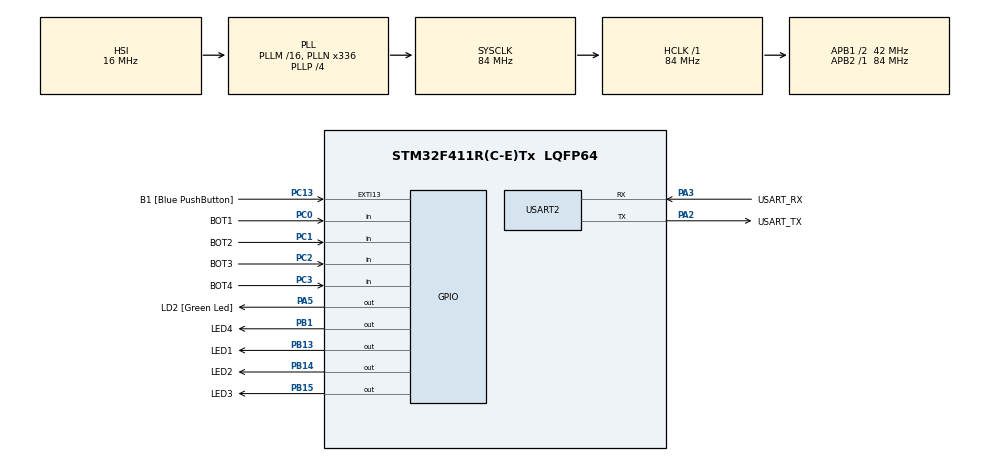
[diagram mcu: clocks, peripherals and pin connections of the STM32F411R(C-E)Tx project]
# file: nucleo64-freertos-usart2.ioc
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Mcu.Family=STM32F4
RCC.CortexFreq_Value=84000000
PB14.GPIO_Label=LED2
PA14.GPIO_Label=TCK
PC0.GPIO_Label=BOT1
PB13.GPIO_Label=LED1
PB13.Signal=GPIO_Output
PB15.Signal=GPIO_Output
RCC.SYSCLKSource=RCC_SYSCLKSOURCE_PLLCLK
ProjectManager.StackSize=0x400
VP_FREERTOS_VS_CMSIS_V2.Mode=CMSIS_V2
PH0\ -\ OSC_IN.Signal=RCC_OSC_IN
NVIC.TIM5_IRQn=true\:0\:0\:false\:false\:true\:false\:false\:true
RCC.HCLKFreq_Value=84000000
RCC.APB2TimFreq_Value=84000000
PC3.Signal=GPIO_Input
RCC.AHBFreq_Value=84000000
RCC.HSE_VALUE=8000000
PC13-ANTI_TAMP.Signal=GPXTI13
PB1.GPIO_Label=LED4
RCC.FLatency-AdvancedSettings=FLASH_LATENCY_2
Mcu.Package=LQFP64
PB1.Signal=GPIO_Output
NVIC.TimeBase=TIM5_IRQn
USART2.VirtualMode=VM_ASYNC
PA2.GPIO_Label=USART_TX
NVIC.TimeBaseIP=TIM5
RCC.APB1TimFreq_Value=84000000
PC2.GPIO_Label=BOT3
PA3.Signal=USART2_RX
PB3.GPIO_Label=SWO
FREERTOS.Tasks01=buttonControl,24,128,StartButtonControl,Default,NULL,Dynamic,NULL,NULL;ledControl,24,128,StartLedControl,Default,NULL,Dynamic,NULL,NULL;serialControl,24,128,StartSerialControl,Default,NULL,Dynamic,NULL,NULL
PC13-ANTI_TAMP.GPIO_Label=B1 [Blue PushButton]
PC2.Signal=GPIO_Input
VP_SYS_VS_tim5.Mode=TIM5
PC0.Signal=GPIO_Input
RCC.APB1CLKDivider=RCC_HCLK_DIV2
PC14-OSC32_IN.Signal=RCC_OSC32_IN
PA13.Signal=SYS_JTMS-SWDIO
PA3.Mode=Asynchronous
ProjectManager.TargetToolchain=STM32CubeIDE
RCC.LSE_VALUE=32768
PC15-OSC32_OUT.Signal=RCC_OSC32_OUT
PB14.Signal=GPIO_Output
PA5.Signal=GPIO_Output
PH1\ -\ OSC_OUT.Signal=RCC_OSC_OUT
board=NUCLEO-F411RE
RCC.VCOOutputFreq_Value=336000000
RCC.APB2Freq_Value=84000000
PB15.GPIO_Label=LED3
PC1.GPIO_Label=BOT2
Mcu.Name=STM32F411R(C-E)Tx
PA13.GPIO_Label=TMS
PA2.Signal=USART2_TX
RCC.48MHZClocksFreq_Value=84000000
PB3.Signal=SYS_JTDO-SWO
RCC.SYSCLKFreq_VALUE=84000000
PA5.GPIO_Label=LD2 [Green Led]
PC13-ANTI_TAMP.GPIO_ModeDefaultEXTI=GPIO_MODE_IT_FALLING
PA14.Signal=SYS_JTCK-SWCLK
ProjectManager.HeapSize=0x200
RCC.HSI_VALUE=16000000
RCC.PLLP=RCC_PLLP_DIV4
NVIC.PriorityGroup=NVIC_PRIORITYGROUP_4
RCC.PLLN=336
PA2.Mode=Asynchronous
PC3.GPIO_Label=BOT4
RCC.APB1Freq_Value=42000000
PC1.Signal=GPIO_Input
PA3.GPIO_Label=USART_RX

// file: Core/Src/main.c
/* USER CODE BEGIN Header */
/**
  ******************************************************************************
  * @file           : main.c
  * @brief          : Main program body
  ******************************************************************************
  * @attention
  *
  * <h2><center>&copy; Copyright (c) 2021 STMicroelectronics.
  * All rights reserved.</center></h2>
  *
  * This software component is licensed by ST under BSD 3-Clause license,
  * the "License"; You may not use this file except in compliance with the
  * License. You may obtain a copy of the License at:
  *                        opensource.org/licenses/BSD-3-Clause
  *
  ******************************************************************************
  */
/* USER CODE END Header */
#include "main.h"
#include "cmsis_os.h"

/* USER CODE BEGIN Includes */
#include "string.h"
/* USER CODE END Includes */

/* USER CODE BEGIN PD */
#define MAX_LEVEL 5
/* USER CODE END PD */

UART_HandleTypeDef huart2;

/* Definitions for buttonControl */
osThreadId_t buttonControlHandle;
const osThreadAttr_t buttonControl_attributes = {
  .name = "buttonControl",
  .stack_size = 128 * 4,
  .priority = (osPriority_t) osPriorityNormal,
};
/* Definitions for ledControl */
osThreadId_t ledControlHandle;
const osThreadAttr_t ledControl_attributes = {
  .name = "ledControl",
  .stack_size = 128 * 4,
  .priority = (osPriority_t) osPriorityNormal,
};
/* Definitions for serialControl */
osThreadId_t serialControlHandle;
const osThreadAttr_t serialControl_attributes = {
  .name = "serialControl",
  .stack_size = 128 * 4,
  .priority = (osPriority_t) osPriorityNormal,
};
/* USER CODE BEGIN PV */
uint8_t msg[100];
uint8_t game[] = {1, 4, 3, 2, 3, 1, 4, 3, 2, 1, 4, 2, 3, 4, 2};
uint8_t isReading = 0;
uint8_t gameLevel = 1;
/* USER CODE END PV */

void SystemClock_Config(void);
static void MX_GPIO_Init(void);
static void MX_USART2_UART_Init(void);
void StartButtonControl(void *argument);
void StartLedControl(void *argument);
void StartSerialControl(void *argument);

int main(void)
{

  /* MCU Configuration--------------------------------------------------------*/

  /* Reset of all peripherals, Initializes the Flash interface and the Systick. */
  HAL_Init();

  /* Configure the system clock */
  SystemClock_Config();

  /* Initialize all configured peripherals */
  MX_GPIO_Init();
  MX_USART2_UART_Init();

  /* Init scheduler */
  osKernelInitialize();

  /* Create the thread(s) */
  /* creation of buttonControl */
  buttonControlHandle = osThreadNew(StartButtonControl, NULL, &buttonControl_attributes);

  /* creation of ledControl */
  ledControlHandle = osThreadNew(StartLedControl, NULL, &ledControl_attributes);

  /* creation of serialControl */
  serialControlHandle = osThreadNew(StartSerialControl, NULL, &serialControl_attributes);

  /* Start scheduler */
  osKernelStart();

  /* We should never get here as control is now taken by the scheduler */
  /* Infinite loop */
  while (1)
  {

  }
}

void SystemClock_Config(void)
{
  RCC_OscInitTypeDef RCC_OscInitStruct = {0};
  RCC_ClkInitTypeDef RCC_ClkInitStruct = {0};

  /** Configure the main internal regulator output voltage
  */
  __HAL_RCC_PWR_CLK_ENABLE();
  __HAL_PWR_VOLTAGESCALING_CONFIG(PWR_REGULATOR_VOLTAGE_SCALE1);
  /** Initializes the RCC Oscillators according to the specified parameters
  * in the RCC_OscInitTypeDef structure.
  */
  RCC_OscInitStruct.OscillatorType = RCC_OSCILLATORTYPE_HSI;
  RCC_OscInitStruct.HSIState = RCC_HSI_ON;
  RCC_OscInitStruct.HSICalibrationValue = RCC_HSICALIBRATION_DEFAULT;
  RCC_OscInitStruct.PLL.PLLState = RCC_PLL_ON;
  RCC_OscInitStruct.PLL.PLLSource = RCC_PLLSOURCE_HSI;
  RCC_OscInitStruct.PLL.PLLM = 16;
  RCC_OscInitStruct.PLL.PLLN = 336;
  RCC_OscInitStruct.PLL.PLLP = RCC_PLLP_DIV4;
  RCC_OscInitStruct.PLL.PLLQ = 4;
  if (HAL_RCC_OscConfig(&RCC_OscInitStruct) != HAL_OK)
  {
    Error_Handler();
  }
  /** Initializes the CPU, AHB and APB buses clocks
  */
  RCC_ClkInitStruct.ClockType = RCC_CLOCKTYPE_HCLK|RCC_CLOCKTYPE_SYSCLK
                              |RCC_CLOCKTYPE_PCLK1|RCC_CLOCKTYPE_PCLK2;
  RCC_ClkInitStruct.SYSCLKSource = RCC_SYSCLKSOURCE_PLLCLK;
  RCC_ClkInitStruct.AHBCLKDivider = RCC_SYSCLK_DIV1;
  RCC_ClkInitStruct.APB1CLKDivider = RCC_HCLK_DIV2;
  RCC_ClkInitStruct.APB2CLKDivider = RCC_HCLK_DIV1;

  if (HAL_RCC_ClockConfig(&RCC_ClkInitStruct, FLASH_LATENCY_2) != HAL_OK)
  {
    Error_Handler();
  }
}

static void MX_USART2_UART_Init(void)
{

  huart2.Instance = USART2;
  huart2.Init.BaudRate = 115200;
  huart2.Init.WordLength = UART_WORDLENGTH_8B;
  huart2.Init.StopBits = UART_STOPBITS_1;
  huart2.Init.Parity = UART_PARITY_NONE;
  huart2.Init.Mode = UART_MODE_TX_RX;
  huart2.Init.HwFlowCtl = UART_HWCONTROL_NONE;
  huart2.Init.OverSampling = UART_OVERSAMPLING_16;
  if (HAL_UART_Init(&huart2) != HAL_OK)
  {
    Error_Handler();
  }

}

static void MX_GPIO_Init(void)
{
  GPIO_InitTypeDef GPIO_InitStruct = {0};

  /* GPIO Ports Clock Enable */
  __HAL_RCC_GPIOC_CLK_ENABLE();
  __HAL_RCC_GPIOH_CLK_ENABLE();
  __HAL_RCC_GPIOA_CLK_ENABLE();
  __HAL_RCC_GPIOB_CLK_ENABLE();

  /*Configure GPIO pin Output Level */
  HAL_GPIO_WritePin(LD2_GPIO_Port, LD2_Pin, GPIO_PIN_RESET);

  /*Configure GPIO pin Output Level */
  HAL_GPIO_WritePin(GPIOB, LED4_Pin|LED1_Pin|LED2_Pin|LED3_Pin, GPIO_PIN_RESET);

  /*Configure GPIO pin : B1_Pin */
  GPIO_InitStruct.Pin = B1_Pin;
  GPIO_InitStruct.Mode = GPIO_MODE_IT_FALLING;
  GPIO_InitStruct.Pull = GPIO_NOPULL;
  HAL_GPIO_Init(B1_GPIO_Port, &GPIO_InitStruct);

  /*Configure GPIO pins : BOT1_Pin BOT2_Pin BOT3_Pin BOT4_Pin */
  GPIO_InitStruct.Pin = BOT1_Pin|BOT2_Pin|BOT3_Pin|BOT4_Pin;
  GPIO_InitStruct.Mode = GPIO_MODE_INPUT;
  GPIO_InitStruct.Pull = GPIO_NOPULL;
  HAL_GPIO_Init(GPIOC, &GPIO_InitStruct);

  /*Configure GPIO pin : LD2_Pin */
  GPIO_InitStruct.Pin = LD2_Pin;
  GPIO_InitStruct.Mode = GPIO_MODE_OUTPUT_PP;
  GPIO_InitStruct.Pull = GPIO_NOPULL;
  GPIO_InitStruct.Speed = GPIO_SPEED_FREQ_LOW;
  HAL_GPIO_Init(LD2_GPIO_Port, &GPIO_InitStruct);

  /*Configure GPIO pins : LED4_Pin LED1_Pin LED2_Pin LED3_Pin */
  GPIO_InitStruct.Pin = LED4_Pin|LED1_Pin|LED2_Pin|LED3_Pin;
  GPIO_InitStruct.Mode = GPIO_MODE_OUTPUT_PP;
  GPIO_InitStruct.Pull = GPIO_NOPULL;
  GPIO_InitStruct.Speed = GPIO_SPEED_FREQ_LOW;
  HAL_GPIO_Init(GPIOB, &GPIO_InitStruct);

}

void StartButtonControl(void *argument)
{
  /* USER CODE BEGIN 5 */
  int wrongSequence;
  /* Infinite loop */
  for(;;)
  {
    if(isReading)
    {
      wrongSequence = 0;
      for(int i = 0; i<gameLevel && !wrongSequence && gameLevel!=MAX_LEVEL+1;)
      {
        if(HAL_GPIO_ReadPin(GPIOC, BOT1_Pin))
        {
            if(game[i]!=4)
            	wrongSequence = 1;
            else
            	i++;
            while (HAL_GPIO_ReadPin(GPIOC, BOT1_Pin)){osDelay(30);}
        }
        else if(HAL_GPIO_ReadPin(GPIOC, BOT2_Pin))
        {
            if(game[i]!=3)
            	wrongSequence = 1;
            else
            	i++;
            while (HAL_GPIO_ReadPin(GPIOC, BOT2_Pin)){osDelay(30);}
        }
        else if(HAL_GPIO_ReadPin(GPIOC, BOT3_Pin))
        {
            if(game[i]!=2)
            	wrongSequence = 1;
            else
            	i++;
            while (HAL_GPIO_ReadPin(GPIOC, BOT3_Pin)){osDelay(30);}
        }
        else if(HAL_GPIO_ReadPin(GPIOC, BOT4_Pin))
        {
            if(game[i]!=1)
            	wrongSequence = 1;
            else
            	i++;
            while (HAL_GPIO_ReadPin(GPIOC, BOT4_Pin)){osDelay(30);}
        }
        else{osDelay(30);}
      }
      gameLevel = wrongSequence ? 1 : (gameLevel+1);
      isReading = 0;
      osDelay(1);
    }
  }
  /* USER CODE END 5 */
}

void StartLedControl(void *argument)
{
  /* USER CODE BEGIN StartLedControl */
  /* Infinite loop */
  for(;;)
  {
    if (!isReading){
      if(gameLevel!=MAX_LEVEL+1)
      {
          for(int x=0;x<gameLevel;x++){
            HAL_GPIO_WritePin(GPIOB, LED1_Pin, GPIO_PIN_RESET);
            HAL_GPIO_WritePin(GPIOB, LED2_Pin, GPIO_PIN_RESET);
            HAL_GPIO_WritePin(GPIOB, LED3_Pin, GPIO_PIN_RESET);
            HAL_GPIO_WritePin(GPIOB, LED4_Pin, GPIO_PIN_RESET);
            switch (game[x])
            {
            case 1:
              HAL_GPIO_WritePin(GPIOB, LED1_Pin, GPIO_PIN_SET);
              break;
            case 2:
              HAL_GPIO_WritePin(GPIOB, LED2_Pin, GPIO_PIN_SET);
              break;
            case 3:
              HAL_GPIO_WritePin(GPIOB, LED3_Pin, GPIO_PIN_SET);
              break;
            case 4:
              HAL_GPIO_WritePin(GPIOB, LED4_Pin, GPIO_PIN_SET);
              break;
            }
            osDelay(1000);
          }
          HAL_GPIO_WritePin(GPIOB, LED1_Pin, GPIO_PIN_RESET);
          HAL_GPIO_WritePin(GPIOB, LED2_Pin, GPIO_PIN_RESET);
          HAL_GPIO_WritePin(GPIOB, LED3_Pin, GPIO_PIN_RESET);
          HAL_GPIO_WritePin(GPIOB, LED4_Pin, GPIO_PIN_RESET);
          isReading=1;
      }
      else
      {
    	  HAL_GPIO_TogglePin(GPIOB, LED1_Pin);
    	  HAL_GPIO_TogglePin(GPIOB, LED2_Pin);
    	  HAL_GPIO_TogglePin(GPIOB, LED3_Pin);
    	  HAL_GPIO_TogglePin(GPIOB, LED4_Pin);
          osDelay(500);
      }
    }
    osDelay(1);
  }
  /* USER CODE END StartLedControl */
}

void StartSerialControl(void *argument)
{
  /* USER CODE BEGIN StartSerialControl */
  int level = 0;
  /* Infinite loop */
  for(;;)
  {
	if(level!=gameLevel)
	{
		if(gameLevel!=MAX_LEVEL+1)
		{
			sprintf((char *) msg, "Dificuldade: %d\r\n", gameLevel);
			HAL_UART_Transmit(&huart2, msg, strlen((const char *)msg), 10);
		}
		else
		{
			sprintf((char *) msg, "PARAB%cNS! Voc%c ganhou. Pressione Reset para iniciar um novo jogo.\r\n",144,136);
			HAL_UART_Transmit(&huart2, msg, strlen((const char *)msg), 10);
		}
		level = gameLevel;
	}
    osDelay(1);
  }
  /* USER CODE END StartSerialControl */
}

 /**
  * @brief  Period elapsed callback in non blocking mode
  * @note   This function is called  when TIM5 interrupt took place, inside
  * HAL_TIM_IRQHandler(). It makes a direct call to HAL_IncTick() to increment
  * a global variable "uwTick" used as application time base.
  * @param  htim : TIM handle
  * @retval None
  */
void HAL_TIM_PeriodElapsedCallback(TIM_HandleTypeDef *htim)
{
  if (htim->Instance == TIM5) {
    HAL_IncTick();
  }
}

void Error_Handler(void)
{
  __disable_irq();
  while (1)
  {
  }
}

/************************ (C) COPYRIGHT STMicroelectronics *****END OF FILE****/
